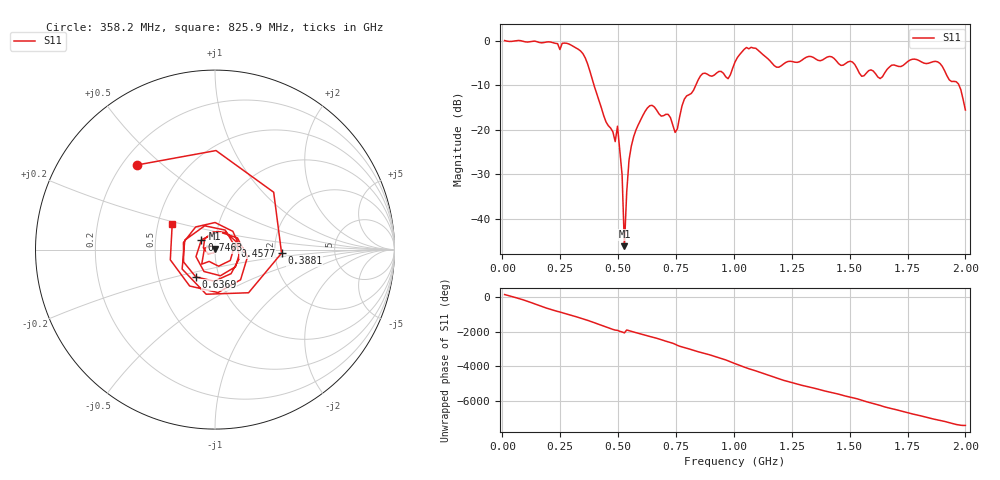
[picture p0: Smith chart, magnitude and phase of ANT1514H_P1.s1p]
!Created with skrf (http://scikit-rf.org).
# Hz S RI R 50.0
!freq ReS11 ImS11
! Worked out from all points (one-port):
!   201 points, 10 MHz to 2 GHz, reference 50 ohm
!   lowest |S11| = -46.2 dB at 527.4 MHz (marker M1), VSWR 1.01, Z = 50.1 + j0.486 ohm
!   |S11| at or under -10 dB: 396.2 MHz to 835.8 MHz (439.6 MHz wide, 71.4 % of centre); 1.972 GHz to end of sweep
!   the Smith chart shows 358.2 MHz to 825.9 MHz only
!   S11 on the Smith chart (normalised r, x): 358.2 MHz: 0.26, +0.41; 388.1 MHz: 2.18, -0.10; 457.8 MHz: 1.24, +0.06; 636.9 MHz: 0.77, -0.24; 746.3 MHz: 0.85, +0.09; 825.9 MHz: 0.59, +0.18
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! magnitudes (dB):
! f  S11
! 10 MHz  0.1
! 258.8 MHz  -0.6
! 358.2 MHz  -3.8
! 388.1 MHz  -8.6
! 457.8 MHz  -19.1
! 487.6 MHz  -22.7
! 497.6 MHz  -19.2
! 507.5 MHz  -24.6
! 517.5 MHz  -30.2
! 527.4 MHz  -46.2
! 537.4 MHz  -34.0
! 557.2 MHz  -23.7
! 636.9 MHz  -14.6
! 746.3 MHz  -20.6
! 756.2 MHz  -19.8
! 786.1 MHz  -13.1
! 825.9 MHz  -11.1
! 865.7 MHz  -7.4
! 975.1 MHz  -8.5
! 1.005 GHz  -4.8
! 1.075 GHz  -1.5
! 1.254 GHz  -4.7
! 1.502 GHz  -4.6
! 1.632 GHz  -8.5
! 1.751 GHz  -4.7
! 1.891 GHz  -5.1
! 1.97 GHz  -9.7
! 2 GHz  -15.6
